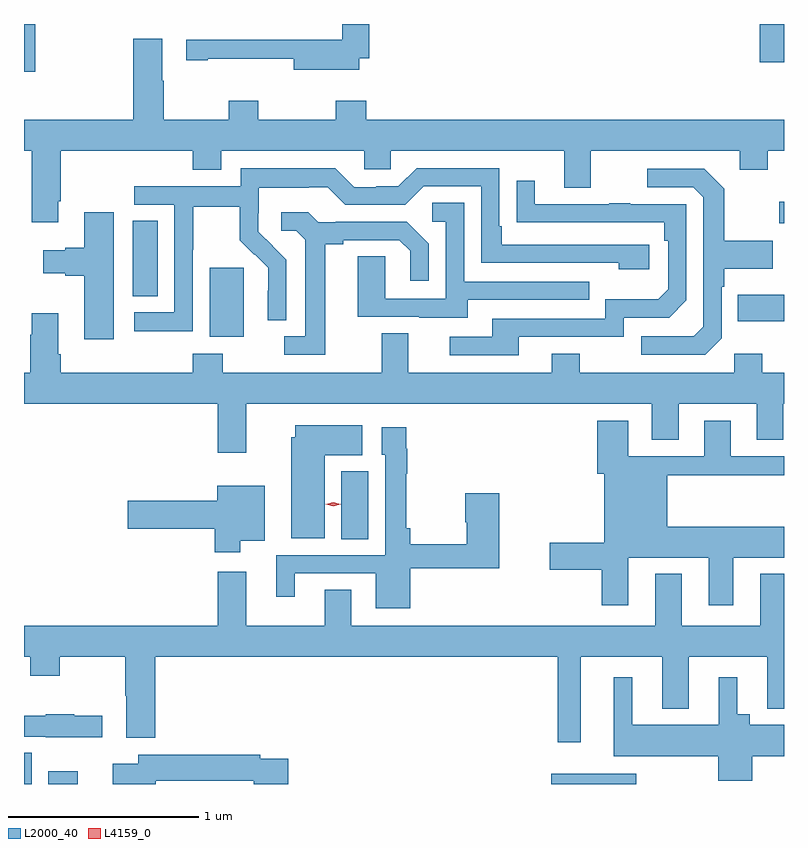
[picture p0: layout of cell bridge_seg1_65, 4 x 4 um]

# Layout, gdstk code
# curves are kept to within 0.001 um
import gdstk
lib = gdstk.Library(unit=1e-6, precision=1e-09)
def R(c, l, rs):  # rectangles x0, y0, x1, y1
    for r in rs: c.add(gdstk.rectangle(r[:2], r[2:], *l))
def P(c, l, *ps):  # polygons
    for p in ps: c.add(gdstk.Polygon(p, *l))
L2000_40 = (2000, 40)
L4159_0 = (4159, 0)

bridge_seg1_65 = lib.new_cell('bridge_seg1_65')
R(bridge_seg1_65, L2000_40, [(612.564,532.415,612.604,532.58), (612.692,532.415,612.847,532.483), (615.338,532.415,615.787,532.468), (614.234,533.704,614.377,534.061), (613.541,534.77,613.72,535.131), (616.321,534.851,616.564,534.991), (613.136,534.982,613.267,535.379), (616.539,535.367,616.564,535.48), (612.564,536.163,612.623,536.415), (616.436,536.214,616.564,536.415)])
P(bridge_seg1_65, L2000_40, [(614.329,536.234),(614.381,536.234),(614.381,536.415),(614.238,536.415),(614.238,536.332),(613.989,536.332),(613.989,536.331),(613.694,536.331),(613.694,536.333),(613.419,536.333),(613.419,536.223),(613.531,536.223),(613.531,536.233),(613.985,536.233),(613.985,536.174),(614.329,536.174)],
  [(613.139,536.338),(613.139,535.912),(612.564,535.912),(612.564,535.748),(612.605,535.748),(612.605,535.371),(612.745,535.371),(612.745,535.483),(612.758,535.483),(612.758,535.748),(613.451,535.748),(613.451,535.649),(613.603,535.649),(613.603,535.748),(614.355,535.748),(614.355,535.65),(614.493,535.65),(614.493,535.748),(615.407,535.748),(615.407,535.554),(615.547,535.554),(615.547,535.748),(616.331,535.748),(616.331,535.649),(616.479,535.649),(616.479,535.748),(616.564,535.748),(616.564,535.912),(614.366,535.912),(614.366,536.011),(614.206,536.011),(614.206,535.912),(613.797,535.912),(613.797,536.011),(613.642,536.011),(613.642,535.912),(613.299,535.912),(613.299,536.117),(613.291,536.117),(613.291,536.338)],
  [(613.452,535.228),(613.455,535.228),(613.455,535.452),(613.699,535.452),(613.699,535.277),(613.776,535.2),(613.779,535.203),(613.85,535.133),(613.85,535.01),(613.848,535.01),(613.848,534.856),(613.944,534.856),(613.944,535.174),(613.798,535.322),(613.798,535.419),(613.8,535.419),(613.8,535.553),(614.063,535.553),(614.063,535.557),(614.163,535.557),(614.256,535.464),(614.571,535.464),(614.667,535.56),(614.97,535.56),(614.97,535.158),(615.695,535.158),(615.695,535.124),(615.856,535.124),(615.856,535.254),(615.079,535.254),(615.079,535.351),(615.066,535.351),(615.066,535.656),(614.631,535.656),(614.535,535.56),(614.417,535.56),(614.417,535.557),(614.301,535.557),(614.201,535.657),(613.704,535.657),(613.704,535.56),(613.143,535.56),(613.143,535.464),(613.356,535.464),(613.356,534.897),(613.143,534.897),(613.143,534.799),(613.452,534.799)],
  [(616.236,534.762),(616.236,535.031),(616.249,535.031),(616.249,535.127),(616.505,535.127),(616.505,535.275),(616.249,535.275),(616.249,535.547),(616.143,535.653),(615.843,535.653),(615.843,535.557),(616.086,535.557),(616.14,535.503),(616.14,534.822),(616.089,534.771),(615.813,534.771),(615.813,534.675),(616.149,534.675)],
  [(615.169,534.768),(615.72,534.768),(615.72,534.87),(615.96,534.87),(616.05,534.96),(616.05,535.467),(615.755,535.467),(615.755,535.472),(615.643,535.472),(615.643,535.467),(615.253,535.467),(615.253,535.591),(615.157,535.591),(615.157,535.372),(615.934,535.371),(615.934,535.274),(615.954,535.274),(615.954,535.02),(615.901,534.967),(615.624,534.967),(615.624,534.864),(615.029,534.864),(615.029,534.768),(614.805,534.768),(614.805,534.672),(615.169,534.672)],
  [(614.899,534.963),(615.539,534.963),(615.539,535.059),(614.88,535.059),(614.88,535.475),(614.712,535.475),(614.712,535.374),(614.784,535.374),(614.784,534.969),(614.466,534.969),(614.466,535.193),(614.321,535.193),(614.321,534.873),(614.645,534.873),(614.645,534.869),(614.899,534.869)],
  [(613.036,535.423),(612.881,535.423),(612.881,535.238),(612.782,535.238),(612.782,535.225),(612.666,535.225),(612.666,535.103),(612.782,535.103),(612.782,535.091),(612.881,535.091),(612.881,534.756),(613.036,534.756)],
  [(614.149,535.256),(614.245,535.256),(614.245,535.278),(614.54,535.278),(614.597,535.221),(614.597,535.065),(614.694,535.065),(614.694,535.258),(614.578,535.374),(614.206,535.374),(614.206,535.371),(614.112,535.371),(614.06,535.423),(613.917,535.423),(613.917,535.326),(613.998,535.326),(614.045,535.279),(614.045,534.771),(613.935,534.771),(613.935,534.675),(614.149,534.675)],
  [(612.605,534.892),(612.605,534.779),(612.598,534.779),(612.598,534.58),(612.564,534.58),(612.564,534.416),(613.583,534.416),(613.583,534.159),(613.735,534.159),(613.735,534.416),(615.869,534.416),(615.869,534.226),(616.009,534.226),(616.009,534.416),(616.421,534.416),(616.421,534.226),(616.561,534.226),(616.561,534.416),(616.564,534.416),(616.564,534.58),(616.449,534.58),(616.449,534.679),(616.302,534.679),(616.302,534.58),(615.489,534.58),(615.489,534.679),(615.341,534.679),(615.341,534.58),(614.587,534.58),(614.587,534.788),(614.447,534.788),(614.447,534.58),(613.611,534.58),(613.611,534.679),(613.451,534.679),(613.451,534.58),(612.758,534.58),(612.758,534.676),(612.745,534.676),(612.745,534.892)],
  [(615.745,533.606),(616.169,533.606),(616.169,533.355),(616.297,533.355),(616.297,533.606),(616.564,533.606),(616.564,533.77),(615.949,533.77),(615.949,534.04),(616.564,534.04),(616.564,534.141),(616.285,534.141),(616.285,534.328),(616.145,534.328),(616.145,534.141),(615.745,534.141),(615.745,534.328),(615.581,534.328),(615.581,534.048),(615.617,534.048),(615.617,533.684),(615.33,533.684),(615.33,533.542),(615.605,533.542),(615.605,533.355),(615.745,533.355)],
  [(614.146,534.146),(614.344,534.146),(614.344,534.304),(613.991,534.304),(613.991,534.24),(613.97,534.24),(613.97,533.708),(614.146,533.708)],
  [(614.596,533.55),(615.065,533.55),(615.065,533.944),(614.887,533.944),(614.887,533.793),(614.894,533.793),(614.894,533.678),(614.596,533.678),(614.596,533.761),(614.575,533.761),(614.575,534.047),(614.582,534.047),(614.582,534.179),(614.575,534.179),(614.575,534.292),(614.447,534.292),(614.447,534.147),(614.466,534.147),(614.466,533.619),(613.892,533.619),(613.892,533.4),(613.99,533.4),(613.99,533.523),(614.414,533.523),(614.414,533.339),(614.596,533.339)],
  [(613.702,533.696),(613.831,533.696),(613.831,533.986),(613.58,533.986),(613.58,533.906),(613.11,533.906),(613.11,533.759),(613.568,533.759),(613.568,533.634),(613.702,533.634)],
  [(615.493,533.084),(615.923,533.084),(615.923,532.811),(616.063,532.811),(616.063,533.084),(616.475,533.084),(616.475,532.811),(616.564,532.811),(616.564,533.521),(616.439,533.521),(616.439,533.248),(616.027,533.248),(616.027,533.521),(615.887,533.521),(615.887,533.248),(614.287,533.248),(614.287,533.438),(614.147,533.438),(614.147,533.248),(613.735,533.248),(613.735,533.533),(613.583,533.533),(613.583,533.248),(612.564,533.248),(612.564,533.084),(612.598,533.084),(612.598,532.985),(612.753,532.985),(612.753,533.084),(613.096,533.084),(613.096,532.88),(613.103,532.88),(613.103,532.659),(613.256,532.659),(613.256,533.084),(615.372,533.084),(615.372,532.635),(615.493,532.635)],
  [(616.397,532.562),(616.564,532.562),(616.564,532.726),(616.384,532.726),(616.384,532.783),(616.318,532.783),(616.318,532.978),(616.22,532.978),(616.22,532.726),(615.766,532.726),(615.766,532.978),(615.668,532.978),(615.668,532.562),(616.219,532.562),(616.219,532.431),(616.397,532.431)],
  [(612.976,532.774),(612.828,532.774),(612.828,532.783),(612.678,532.783),(612.678,532.774),(612.564,532.774),(612.564,532.665),(612.678,532.665),(612.678,532.661),(612.976,532.661)],
  [(613.258,532.432),(613.772,532.432),(613.772,532.415),(613.955,532.415),(613.955,532.548),(613.808,532.548),(613.808,532.568),(613.164,532.568),(613.164,532.522),(613.031,532.522),(613.031,532.415),(613.258,532.415)])
P(bridge_seg1_65, L4159_0, [(614.191,533.878),(614.151,533.888),(614.151,533.888),(614.151,533.888),(614.191,533.898),(614.231,533.887),(614.231,533.887),(614.231,533.887)])

lib.write_gds('bridge_seg1_65.gds')
